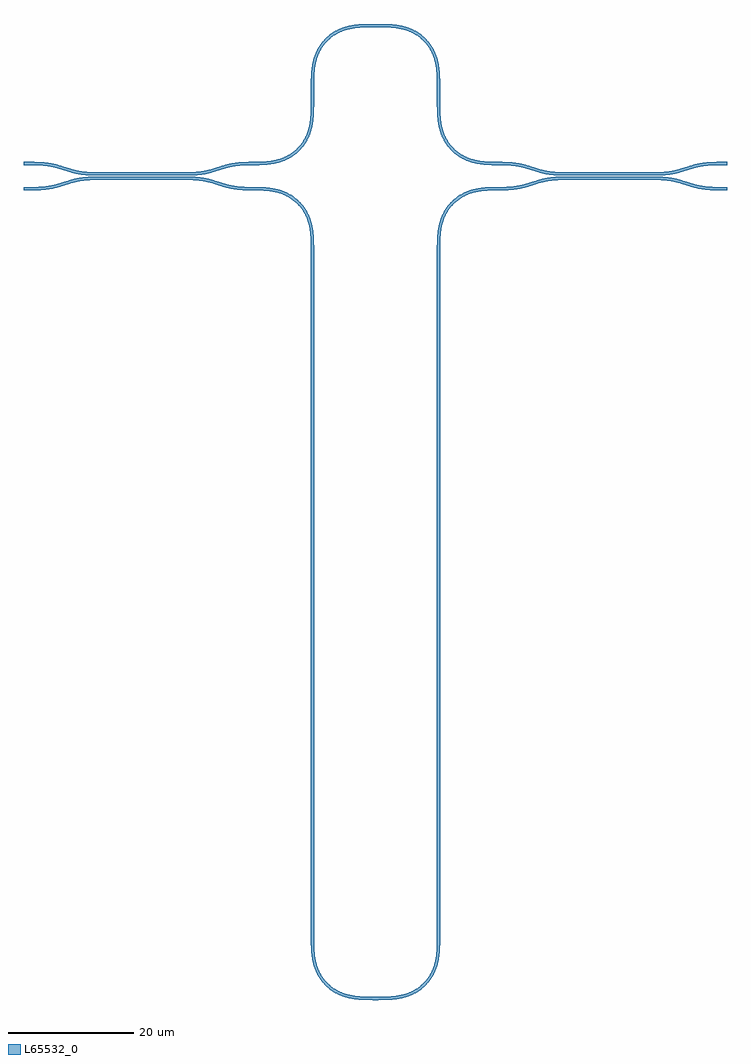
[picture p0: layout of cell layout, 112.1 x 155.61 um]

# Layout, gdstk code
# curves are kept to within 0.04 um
import gdstk
lib = gdstk.Library(unit=1e-6, precision=1e-09)
def R(c, l, rs):  # rectangles x0, y0, x1, y1
    for r in rs: c.add(gdstk.rectangle(r[:2], r[2:], *l))
def P(c, l, *ps):  # polygons
    for p in ps: c.add(gdstk.Polygon(p, *l))
L65532_0 = (65532, 0)

layout = lib.new_cell('layout')
R(layout, L65532_0, [(44.5,-131.008,44.6,-130.508), (34.25,-120.758,34.75,-11.65), (54.35,-120.758,54.85,-11.65), (-11.5,-1.9,-10,-1.4), (99.1,-1.9,100.6,-1.4), (-11.5,2.1,-10,2.6), (99.1,2.1,100.6,2.6), (34.25,12.35,34.75,14.35), (54.35,12.35,54.85,14.35), (44.5,24.1,44.6,24.6)])
P(layout, L65532_0, [(-10,-1.9),(-10,-1.4),(-8.633,-1.353),(-7.417,-1.209),(-6.25,-0.951),(-4.051,-0.264),(-3.066,-0.022),(-1.653,0.181),(-0.303,0.248),(15.775,0.21),(16.846,0.101),(17.85,-0.083),(20.75,-0.951),(21.819,-1.192),(23.133,-1.353),(24.5,-1.4),(24.5,-1.9),(22.377,-1.781),(20.879,-1.502),(17.559,-0.531),(16.452,-0.352),(15.486,-0.274),(-0.44,-0.254),(-1.839,-0.34),(-3.059,-0.531),(-6.033,-1.41),(-7.335,-1.702),(-8.596,-1.851)],
  [(0,0.45),(-1.404,0.499),(-2.665,0.648),(-3.967,0.94),(-5.927,1.559),(-7.033,1.838),(-8.392,2.033),(-10,2.1),(-10,2.6),(-8.596,2.551),(-7.335,2.402),(-6.033,2.11),(-4.073,1.491),(-2.967,1.212),(-1.608,1.017),(0,0.95),(14.5,0.95),(15.867,0.997),(17.827,1.291),(20.533,2.11),(21.631,2.366),(22.847,2.531),(24.5,2.6),(24.5,2.1),(23.133,2.053),(21.722,1.874),(20.587,1.605),(18.032,0.826),(16.153,0.519),(14.5,0.45)],
  [(34.25,-11.65),(34.161,-8.904),(33.853,-7.173),(33.551,-6.285),(33.201,-5.563),(32.769,-4.888),(32.168,-4.171),(31.043,-3.228),(30.351,-2.823),(29.616,-2.501),(28.584,-2.199),(27.381,-2.003),(26.155,-1.919),(24.5,-1.9),(24.5,-1.4),(26.312,-1.425),(27.435,-1.506),(28.415,-1.653),(29.383,-1.894),(30.319,-2.252),(31.079,-2.658),(31.897,-3.24),(32.529,-3.824),(33.173,-4.594),(33.773,-5.572),(34.166,-6.495),(34.439,-7.456),(34.694,-9.277),(34.75,-11.65)],
  [(44.084,-131.008),(41.565,-130.902),(40.585,-130.755),(39.617,-130.514),(38.681,-130.156),(37.921,-129.75),(37.103,-129.168),(36.471,-128.584),(35.912,-127.929),(35.363,-127.089),(34.933,-126.181),(34.664,-125.367),(34.452,-124.394),(34.329,-123.412),(34.25,-120.758),(34.75,-120.758),(34.769,-122.413),(34.853,-123.639),(35.02,-124.71),(35.306,-125.748),(35.934,-127.075),(36.832,-128.237),(37.957,-129.18),(38.649,-129.585),(39.384,-129.907),(40.416,-130.209),(41.619,-130.405),(42.845,-130.489),(44.5,-130.508),(44.5,-131.008)],
  [(24.5,2.1),(24.5,2.6),(26.155,2.619),(27.381,2.703),(28.452,2.87),(29.49,3.156),(30.231,3.463),(30.931,3.855),(32.075,4.775),(32.995,5.919),(33.387,6.619),(33.694,7.36),(33.98,8.398),(34.147,9.469),(34.231,10.695),(34.25,12.35),(34.75,12.35),(34.658,9.555),(34.523,8.574),(34.297,7.604),(33.957,6.662),(33.566,5.895),(33,5.065),(32.428,4.422),(31.785,3.85),(30.955,3.284),(30.188,2.893),(29.246,2.553),(28.276,2.327),(27.295,2.192)],
  [(34.25,14.35),(34.342,17.145),(34.477,18.126),(34.703,19.096),(35.043,20.038),(35.434,20.805),(36,21.635),(36.572,22.278),(37.215,22.85),(38.045,23.416),(38.812,23.807),(39.754,24.147),(40.724,24.373),(41.705,24.508),(44.5,24.6),(44.5,24.1),(42.845,24.081),(41.619,23.997),(40.548,23.83),(39.51,23.544),(38.769,23.237),(38.069,22.845),(36.925,21.925),(36.005,20.781),(35.613,20.081),(35.306,19.34),(35.02,18.302),(34.853,17.231),(34.769,16.005),(34.75,14.35)],
  [(54.35,14.35),(54.261,17.096),(53.953,18.827),(53.651,19.715),(53.301,20.437),(52.869,21.112),(52.268,21.829),(51.143,22.772),(50.451,23.177),(49.716,23.499),(48.684,23.801),(47.481,23.997),(46.255,24.081),(44.6,24.1),(44.6,24.6),(46.412,24.575),(47.535,24.494),(48.515,24.347),(49.483,24.106),(50.419,23.748),(51.179,23.342),(51.997,22.76),(52.629,22.176),(53.273,21.406),(53.873,20.428),(54.266,19.505),(54.539,18.544),(54.794,16.723),(54.85,14.35)],
  [(64.184,2.1),(61.665,2.206),(60.685,2.353),(59.717,2.594),(58.781,2.952),(58.021,3.358),(57.203,3.94),(56.571,4.524),(56.012,5.179),(55.463,6.019),(55.033,6.927),(54.764,7.741),(54.552,8.714),(54.429,9.696),(54.35,12.35),(54.85,12.35),(54.869,10.695),(54.953,9.469),(55.12,8.398),(55.406,7.36),(56.034,6.033),(56.932,4.871),(58.057,3.928),(58.749,3.523),(59.484,3.201),(60.516,2.899),(61.719,2.703),(62.945,2.619),(64.6,2.6),(64.6,2.1)],
  [(44.6,-131.008),(44.6,-130.508),(46.255,-130.489),(47.481,-130.405),(48.552,-130.238),(49.59,-129.952),(50.331,-129.645),(51.031,-129.253),(52.175,-128.333),(53.095,-127.189),(53.487,-126.489),(53.794,-125.748),(54.08,-124.71),(54.247,-123.639),(54.331,-122.413),(54.35,-120.758),(54.85,-120.758),(54.758,-123.553),(54.623,-124.534),(54.397,-125.504),(54.057,-126.446),(53.666,-127.213),(53.1,-128.043),(52.528,-128.686),(51.885,-129.258),(51.055,-129.824),(50.288,-130.215),(49.346,-130.555),(48.376,-130.781),(47.395,-130.916)],
  [(54.35,-11.65),(54.442,-8.855),(54.577,-7.874),(54.803,-6.904),(55.143,-5.962),(55.534,-5.195),(56.1,-4.365),(56.672,-3.722),(57.315,-3.15),(58.145,-2.584),(58.912,-2.193),(59.854,-1.853),(60.824,-1.627),(61.805,-1.492),(64.6,-1.4),(64.6,-1.9),(62.945,-1.919),(61.719,-2.003),(60.648,-2.17),(59.61,-2.456),(58.869,-2.763),(58.169,-3.155),(57.025,-4.075),(56.105,-5.219),(55.713,-5.919),(55.406,-6.66),(55.12,-7.698),(54.953,-8.769),(54.869,-9.995),(54.85,-11.65)],
  [(64.6,-1.9),(64.6,-1.4),(65.967,-1.353),(67.183,-1.209),(68.35,-0.951),(70.549,-0.264),(71.534,-0.022),(72.947,0.181),(74.297,0.248),(90.375,0.21),(91.446,0.101),(92.45,-0.083),(95.35,-0.951),(96.419,-1.192),(97.733,-1.353),(99.1,-1.4),(99.1,-1.9),(96.977,-1.781),(95.479,-1.502),(92.159,-0.531),(91.052,-0.352),(90.086,-0.274),(74.16,-0.254),(72.761,-0.34),(71.541,-0.531),(68.567,-1.41),(67.265,-1.702),(66.004,-1.851)],
  [(74.6,0.45),(73.196,0.499),(71.935,0.648),(70.633,0.94),(68.673,1.559),(67.567,1.838),(66.208,2.033),(64.6,2.1),(64.6,2.6),(66.004,2.551),(67.265,2.402),(68.567,2.11),(70.527,1.491),(71.633,1.212),(72.992,1.017),(74.6,0.95),(89.1,0.95),(90.467,0.997),(92.427,1.291),(95.133,2.11),(96.231,2.366),(97.447,2.531),(99.1,2.6),(99.1,2.1),(97.733,2.053),(96.322,1.874),(95.187,1.605),(92.632,0.826),(90.753,0.519),(89.1,0.45)])

lib.write_gds('layout.gds')
